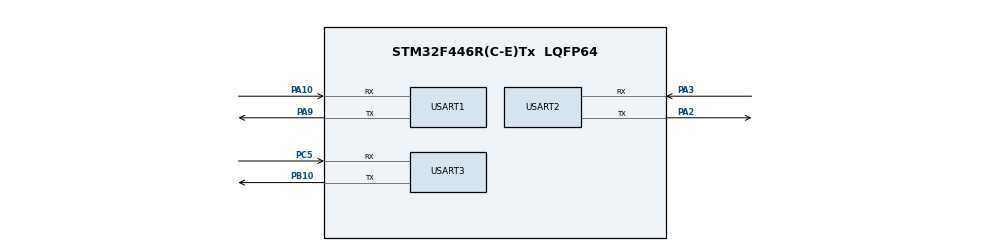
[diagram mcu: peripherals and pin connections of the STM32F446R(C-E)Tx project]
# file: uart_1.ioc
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Dma.Request0=USART1_RX
Dma.USART1_RX.0.Direction=DMA_PERIPH_TO_MEMORY
Dma.USART1_RX.0.FIFOMode=DMA_FIFOMODE_DISABLE
Dma.USART1_RX.0.Instance=DMA2_Stream2
Dma.USART1_RX.0.MemDataAlignment=DMA_MDATAALIGN_BYTE
Dma.USART1_RX.0.MemInc=DMA_MINC_ENABLE
Dma.USART1_RX.0.Mode=DMA_CIRCULAR
Dma.USART1_RX.0.PeriphDataAlignment=DMA_PDATAALIGN_BYTE
Dma.USART1_RX.0.PeriphInc=DMA_PINC_DISABLE
Dma.USART1_RX.0.Priority=DMA_PRIORITY_LOW
Mcu.Family=STM32F4
Mcu.Name=STM32F446R(C-E)Tx
Mcu.Package=LQFP64
NVIC.DMA2_Stream2_IRQn=true\:0\:0\:false\:false\:true\:false\:true\:true
NVIC.PriorityGroup=NVIC_PRIORITYGROUP_4
NVIC.USART1_IRQn=true\:0\:0\:false\:false\:true\:true\:true\:true
PA10.Mode=Asynchronous
PA10.Signal=USART1_RX
PA13.Mode=Serial_Wire
PA13.Signal=SYS_JTMS-SWDIO
PA14.Mode=Serial_Wire
PA14.Signal=SYS_JTCK-SWCLK
PA2.Mode=Asynchronous
PA2.Signal=USART2_TX
PA3.Mode=Asynchronous
PA3.Signal=USART2_RX
PA9.Mode=Asynchronous
PA9.Signal=USART1_TX
PB10.Mode=Asynchronous
PB10.Signal=USART3_TX
PC5.Mode=Asynchronous
PC5.Signal=USART3_RX
ProjectManager.HeapSize=0x200
ProjectManager.StackSize=0x400
ProjectManager.TargetToolchain=STM32CubeIDE
RCC.CortexFreq_Value=16000000
RCC.USBFreq_Value=96000000
RCC.VCOOutputFreq_Value=192000000
USART1.VirtualMode=VM_ASYNC
USART2.VirtualMode=VM_ASYNC
USART3.VirtualMode=VM_ASYNC
board=custom

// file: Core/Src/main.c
/* USER CODE BEGIN Header */
/**
  ******************************************************************************
  * @file           : main.c
  * @brief          : Main program body
  ******************************************************************************
  * @attention
  *
  * Copyright (c) 2026 STMicroelectronics.
  * All rights reserved.
  *
  * This software is licensed under terms that can be found in the LICENSE file
  * in the root directory of this software component.
  * If no LICENSE file comes with this software, it is provided AS-IS.
  *
  ******************************************************************************
  */
/* USER CODE END Header */
#include "main.h"

/* USER CODE BEGIN Includes */

#include <stdio.h>
#include <string.h>

/* USER CODE END Includes */

/* USER CODE BEGIN PD */

#define BUFFER_SIZE 64

/* USER CODE END PD */

UART_HandleTypeDef huart1;
UART_HandleTypeDef huart2;
UART_HandleTypeDef huart3;
DMA_HandleTypeDef hdma_usart1_rx;

/* USER CODE BEGIN PV */

uint8_t DMA_buffer[BUFFER_SIZE];
char tx_buffer[BUFFER_SIZE];
char rx_buffer[BUFFER_SIZE];

/* USER CODE END PV */

void SystemClock_Config(void);
static void MX_GPIO_Init(void);
static void MX_DMA_Init(void);
static void MX_USART2_UART_Init(void);
static void MX_USART1_UART_Init(void);
static void MX_USART3_UART_Init(void);

/* USER CODE BEGIN 0 */

// Send printf to uart2
int _write(int fd, char* ptr, int len) {
  HAL_StatusTypeDef hstatus;

  if (fd == 1 || fd == 2) {
    hstatus = HAL_UART_Transmit(&huart2, (uint8_t *) ptr, len, HAL_MAX_DELAY);
    if (hstatus == HAL_OK)
      return len;
    else
      return -1;
  }
  return -1;
}

void process_character(char ch) {
	static uint32_t strlen = 0;
	switch (ch) {
	case '\0':
		printf("Received: %s\n\r", rx_buffer);
		rx_buffer[0] = '\0';
		strlen = 0;
		break;
    default:
    	//if statement used to prevent strncat from overflowing rx_buffer
    	if(strlen < BUFFER_SIZE) {
    		strncat((char*)&rx_buffer, &ch, 1);
    	}

	}
}

void HAL_UART_ErrorCallback(UART_HandleTypeDef *huart) {
	printf("UART Error\n\r");
	Error_Handler();
}

void HAL_UARTEx_RxEventCallback(UART_HandleTypeDef *huart, uint16_t offset) {
	static uint16_t last_offset = 0;

	if (offset != last_offset) {

		if (offset < last_offset) {
			last_offset = 0;
		}

		while (last_offset < offset) {
			process_character((char) DMA_buffer[last_offset]);
			++last_offset;
		}
	}
}

/* USER CODE END 0 */

int main(void)
{

  /* MCU Configuration--------------------------------------------------------*/

  /* Reset of all peripherals, Initializes the Flash interface and the Systick. */
  HAL_Init();

  /* Configure the system clock */
  SystemClock_Config();

  /* Initialize all configured peripherals */
  MX_GPIO_Init();
  MX_DMA_Init();
  MX_USART2_UART_Init();
  MX_USART1_UART_Init();
  MX_USART3_UART_Init();
  /* USER CODE BEGIN 2 */

  printf("\n\n\n\r------\n\rStarting\n\r");

  HAL_UARTEx_ReceiveToIdle_DMA(&huart1, (uint8_t*)&DMA_buffer, BUFFER_SIZE);

  /* USER CODE END 2 */

  /* Infinite loop */
  /* USER CODE BEGIN WHILE */

  uint32_t now = 0, next_tick = 1000, loop_count = 0, next_tx = 1000, tx_cnt = 0;

  while (1)
  {
	  now = uwTick;

	  if(now >= next_tick) {

		  printf("Tick %lu (loop = %lu)\n\r", now / 1000, loop_count);

		  loop_count = 0;
		  next_tick = now + 1000;
	  }

	  if(now >= next_tx) {

		  sprintf(tx_buffer, "This represents a long data string with the number %lu", tx_cnt);
		  printf("Transmitting: %s\n\r", tx_buffer);

		  //+1 added to strlen to include null character
          HAL_UART_Transmit(&huart3, (uint8_t*)&tx_buffer, strlen(tx_buffer) + 1, HAL_MAX_DELAY);

		  ++tx_cnt;
		  next_tx = now + 1000;

	  }

	  ++loop_count;

    /* USER CODE END WHILE */

  }
}

void SystemClock_Config(void)
{
  RCC_OscInitTypeDef RCC_OscInitStruct = {0};
  RCC_ClkInitTypeDef RCC_ClkInitStruct = {0};

  /** Configure the main internal regulator output voltage
  */
  __HAL_RCC_PWR_CLK_ENABLE();
  __HAL_PWR_VOLTAGESCALING_CONFIG(PWR_REGULATOR_VOLTAGE_SCALE3);

  /** Initializes the RCC Oscillators according to the specified parameters
  * in the RCC_OscInitTypeDef structure.
  */
  RCC_OscInitStruct.OscillatorType = RCC_OSCILLATORTYPE_HSI;
  RCC_OscInitStruct.HSIState = RCC_HSI_ON;
  RCC_OscInitStruct.HSICalibrationValue = RCC_HSICALIBRATION_DEFAULT;
  RCC_OscInitStruct.PLL.PLLState = RCC_PLL_NONE;
  if (HAL_RCC_OscConfig(&RCC_OscInitStruct) != HAL_OK)
  {
    Error_Handler();
  }

  /** Initializes the CPU, AHB and APB buses clocks
  */
  RCC_ClkInitStruct.ClockType = RCC_CLOCKTYPE_HCLK|RCC_CLOCKTYPE_SYSCLK
                              |RCC_CLOCKTYPE_PCLK1|RCC_CLOCKTYPE_PCLK2;
  RCC_ClkInitStruct.SYSCLKSource = RCC_SYSCLKSOURCE_HSI;
  RCC_ClkInitStruct.AHBCLKDivider = RCC_SYSCLK_DIV1;
  RCC_ClkInitStruct.APB1CLKDivider = RCC_HCLK_DIV1;
  RCC_ClkInitStruct.APB2CLKDivider = RCC_HCLK_DIV1;

  if (HAL_RCC_ClockConfig(&RCC_ClkInitStruct, FLASH_LATENCY_0) != HAL_OK)
  {
    Error_Handler();
  }
}

static void MX_USART1_UART_Init(void)
{

  huart1.Instance = USART1;
  huart1.Init.BaudRate = 115200;
  huart1.Init.WordLength = UART_WORDLENGTH_8B;
  huart1.Init.StopBits = UART_STOPBITS_1;
  huart1.Init.Parity = UART_PARITY_NONE;
  huart1.Init.Mode = UART_MODE_TX_RX;
  huart1.Init.HwFlowCtl = UART_HWCONTROL_NONE;
  huart1.Init.OverSampling = UART_OVERSAMPLING_16;
  if (HAL_UART_Init(&huart1) != HAL_OK)
  {
    Error_Handler();
  }

}

static void MX_USART2_UART_Init(void)
{

  huart2.Instance = USART2;
  huart2.Init.BaudRate = 115200;
  huart2.Init.WordLength = UART_WORDLENGTH_8B;
  huart2.Init.StopBits = UART_STOPBITS_1;
  huart2.Init.Parity = UART_PARITY_NONE;
  huart2.Init.Mode = UART_MODE_TX_RX;
  huart2.Init.HwFlowCtl = UART_HWCONTROL_NONE;
  huart2.Init.OverSampling = UART_OVERSAMPLING_16;
  if (HAL_UART_Init(&huart2) != HAL_OK)
  {
    Error_Handler();
  }

}

static void MX_USART3_UART_Init(void)
{

  huart3.Instance = USART3;
  huart3.Init.BaudRate = 115200;
  huart3.Init.WordLength = UART_WORDLENGTH_8B;
  huart3.Init.StopBits = UART_STOPBITS_1;
  huart3.Init.Parity = UART_PARITY_NONE;
  huart3.Init.Mode = UART_MODE_TX_RX;
  huart3.Init.HwFlowCtl = UART_HWCONTROL_NONE;
  huart3.Init.OverSampling = UART_OVERSAMPLING_16;
  if (HAL_UART_Init(&huart3) != HAL_OK)
  {
    Error_Handler();
  }

}

static void MX_DMA_Init(void)
{

  /* DMA controller clock enable */
  __HAL_RCC_DMA2_CLK_ENABLE();

  /* DMA interrupt init */
  /* DMA2_Stream2_IRQn interrupt configuration */
  HAL_NVIC_SetPriority(DMA2_Stream2_IRQn, 0, 0);
  HAL_NVIC_EnableIRQ(DMA2_Stream2_IRQn);

}

static void MX_GPIO_Init(void)
{

  /* GPIO Ports Clock Enable */
  __HAL_RCC_GPIOA_CLK_ENABLE();
  __HAL_RCC_GPIOC_CLK_ENABLE();
  __HAL_RCC_GPIOB_CLK_ENABLE();

}

void Error_Handler(void)
{
  __disable_irq();
  while (1)
  {
  }
}
